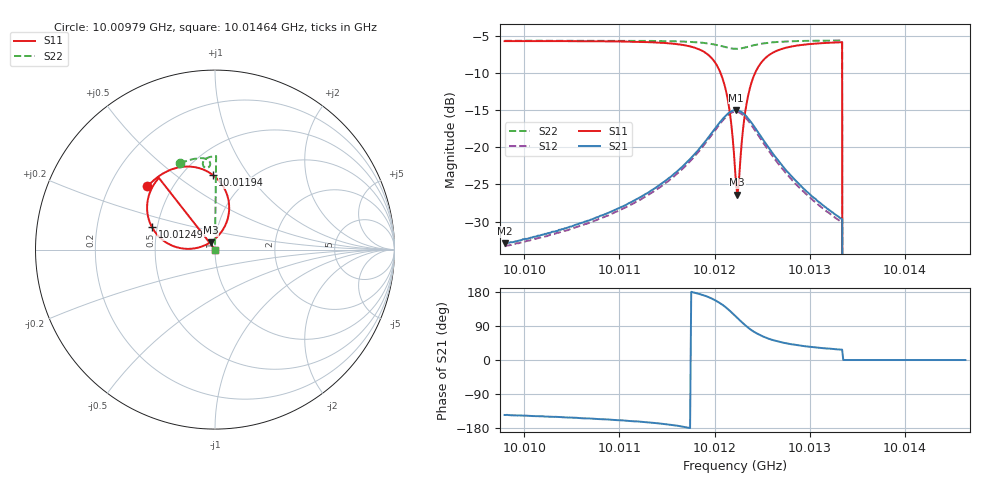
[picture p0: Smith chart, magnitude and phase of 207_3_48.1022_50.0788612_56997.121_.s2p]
#  HZ  S  RI  R  50.00
! Rohde & Schwarz Vector Network Analyzer
! Rohde-Schwarz,ZNB20-2Port,1311601062101988,3.16
! Created: UTC 12/23/2023, 3:55:23 AM
! freq[Hz]  re:S11  im:S11  re:S21  im:S21  re:S12  im:S12  re:S22  im:S22
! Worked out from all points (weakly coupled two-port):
!   401 points, 10.00979 GHz to 10.01464 GHz, reference 50 ohm
!   highest |S21| = -15.02 dB at 10.01223 GHz (marker M1); lowest = -32.9 dB at 10.00979 GHz (marker M2)
!   lowest |S11| = -26.4 dB at 10.01224 GHz (marker M3), VSWR 1.10, Z = 47.4 + j3.92 ohm
!   |S11| at or under -10 dB: 10.01206 GHz to 10.01243 GHz (365.5 kHz wide, 0.00365 % of centre); 10.01334 GHz to end of sweep
!   |S22| runs from - to -5.7 dB; largest |S21 - S12| = 0.0085
!   S11 on the Smith chart (normalised r, x): 10.00979 GHz: 0.36, +0.35; 10.01194 GHz: 0.69, +0.69; 10.01249 GHz: 0.47, +0.13; 10.01464 GHz: 1.00, +0.00
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1.0009794e10  -0.3771 0.3518  -0.0185 -0.0129  -0.0171 -0.0132  -0.1943 0.4806
1.0010605e10  -0.3215 0.4026  -0.0278 -0.0138  -0.0261 -0.0147  -0.1427 0.499
1.0011416e10  -0.2173 0.4545  -0.0539 -0.0121  -0.0512 -0.0144  -0.084 0.5098
1.0011707e10  -0.1333 0.462  -0.0788 -0.003  -0.0759 -0.0071  -0.0581 0.508
1.0011937e10  -0.0118 0.4157  -0.1131 0.0282  -0.1111 0.0217  -0.0349 0.496
1.0012046e10  0.0577 0.3293  -0.127 0.068  -0.1271 0.0597  -0.0269 0.4816
1.0012118e10  0.0792 0.2287  -0.1232 0.1066  -0.1251 0.0987  -0.0279 0.4687
1.0012167e10  0.0627 0.1475  -0.1075 0.1351  -0.1106 0.1279  -0.0335 0.4606
1.0012215e10  0.0122 0.0711  -0.0804 0.1582  -0.0848 0.1511  -0.0427 0.456
1.0012227e10  -0.00519 0.0553  -0.0722 0.1622  -0.0769 0.1553  -0.0452 0.4556
1.0012239e10  -0.0247 0.0412  -0.0636 0.1654  -0.068 0.1587  -0.048 0.4555
1.0012263e10  -0.0667 0.0196  -0.0463 0.169  -0.0502 0.1629  -0.0531 0.4565
1.00123e10  -0.1326 0.00465  -0.0201 0.1681  -0.0244 0.1622  -0.0598 0.46
1.0012348e10  -0.2147 0.0135  0.0102 0.157  0.00438 0.152  -0.0657 0.4676
1.0012409e10  -0.2913 0.0533  0.0354 0.1354  0.0296 0.1311  -0.068 0.4784
1.0012493e10  -0.3507 0.1241  0.0512 0.1047  0.0456 0.1017  -0.0648 0.4913
1.0012723e10  -0.3762 0.2656  0.0515 0.0526  0.047 0.0523  -0.0446 0.5101
1.0013026e10  -0.3462 0.3531  0.0385 0.0264  0.0355 0.0267  -0.0182 0.5184
1.0013316e10  -0.3152 0.3964  0.0297 0.0156  0.0275 0.0163  0.00441 0.5211
1.0013377e10  0 0  0 0  0 0  0 0
1.0013837e10  0 0  0 0  0 0  0 0
1.0014636e10  0 0  0 0  0 0  0 0
